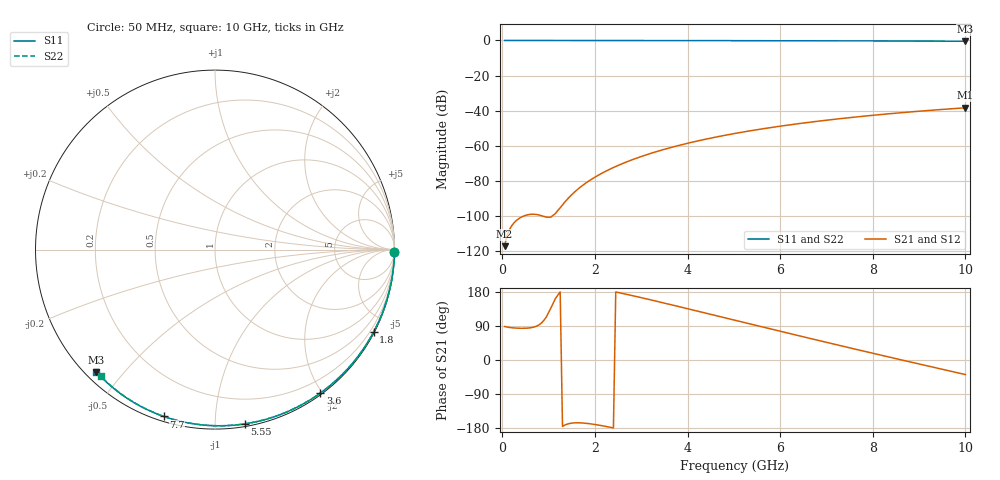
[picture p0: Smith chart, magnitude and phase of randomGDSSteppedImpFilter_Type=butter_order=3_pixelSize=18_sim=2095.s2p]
! freq	dB(S11)	phase(S11)	dB(S12)	phase(S12)
!  dB(S21)	phase(S21)	dB(S22)	phase(S22)
!S-par simulation data
#  GHz  S  DB  R 50
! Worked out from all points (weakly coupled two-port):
!   200 points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, 50 MHz to 10 GHz, reference 50 ohm
!   highest |S21| = -38.35 dB at 10 GHz (marker M1); lowest = -117.2 dB at 50 MHz (marker M2)
!   lowest |S11| = -0.5 dB at 10 GHz (marker M3), VSWR 38.61, Z = 1.53 - j21.1 ohm
!   |S11| at or under -10 dB: nowhere
!   |S22| runs from -0.4 to 0.0 dB; largest |S21 - S12| = 0
!   S11 on the Smith chart (normalised r, x): 50 MHz: open; 1.8 GHz: 0.04, -4.09; 3.6 GHz: 0.02, -1.97; 5.55 GHz: 0.02, -1.19; 7.7 GHz: 0.02, -0.74; 10 GHz: 0.03, -0.42
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0.05  -0.00 -0.8  -117.16 88.4  -117.16 88.4  -0.00 -0.8
0.9  -0.02 -13.9  -100.26 105.1  -100.26 105.1  -0.02 -13.7
1.75  -0.03 -26.8  -82.23 -166.4  -82.23 -166.4  -0.03 -26.4
1.8  -0.03 -27.5  -81.28 -166.9  -81.28 -166.9  -0.03 -27.1
1.85  -0.04 -28.3  -80.37 -167.6  -80.37 -167.6  -0.04 -27.9
1.9  -0.04 -29.0  -79.51 -168.4  -79.51 -168.4  -0.04 -28.6
2.05  -0.04 -31.2  -77.09 -171.1  -77.09 -171.1  -0.04 -30.8
2.25  -0.04 -34.2  -74.26 -175.6  -74.26 -175.6  -0.04 -33.7
2.45  -0.05 -37.2  -71.76 179.5  -71.76 179.5  -0.05 -36.6
2.65  -0.05 -40.1  -69.53 174.2  -69.53 174.2  -0.05 -39.5
3  -0.06 -45.2  -66.10 164.6  -66.10 164.6  -0.06 -44.6
3.4  -0.07 -50.9  -62.75 153.1  -62.75 153.1  -0.07 -50.2
3.6  -0.07 -53.7  -61.26 147.2  -61.26 147.2  -0.07 -53.0
4.3  -0.09 -63.5  -56.75 126.5  -56.75 126.5  -0.09 -62.6
5.05  -0.11 -73.6  -52.84 104.1  -52.84 104.1  -0.11 -72.7
5.55  -0.13 -80.2  -50.61 89.3  -50.61 89.3  -0.13 -79.2
6.1  -0.15 -87.3  -48.45 73.0  -48.45 73.0  -0.15 -86.2
6.7  -0.18 -94.9  -46.36 55.3  -46.36 55.3  -0.18 -93.6
7.7  -0.24 -107.1  -43.41 26.4  -43.41 26.4  -0.24 -105.7
8.35  -0.29 -114.9  -41.76 7.8  -41.76 7.8  -0.29 -113.3
9.15  -0.36 -124.2  -39.98 -14.7  -39.98 -14.7  -0.36 -122.5
10  -0.45 -134.1  -38.35 -38.4  -38.35 -38.4  -0.44 -132.2
